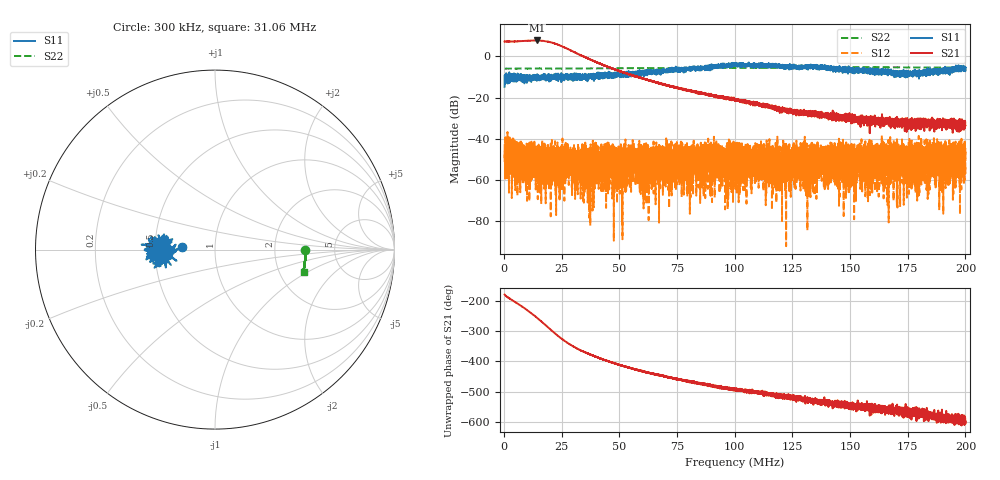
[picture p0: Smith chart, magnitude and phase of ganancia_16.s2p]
# Hz S DB R 50
! CMT, M5065, 19127446, 24.2.4/2
! Date: 10/29/2024 12:10:18 PM
! Data: Format (Calibration Info)
! Freq	S11:dB/Ang(F2)	S21:dB/Ang(F2)	S12:dB/Ang(F2)	S22:dB/Ang(F2)
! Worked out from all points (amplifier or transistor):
!   9000 points, 300 kHz to 200 MHz, reference 50 ohm
!   highest |S21| = 7.7 dB at 14.28 MHz (marker M1)
!   |S21| within 3 dB of that: start of sweep to 25.46 MHz
!   unconditionally stable (mu >= 1): start of sweep to end of sweep
!   at 33.59 MHz: K = 106.52, MAG = 2.2 dB, |S12| = -50.5 dB
!   at 100.2 MHz: K = 2493.70, MAG = -17.2 dB, |S12| = -60.4 dB
!   at 200 MHz: K = 5668.68, MAG = -30.8 dB, |S12| = -53.2 dB
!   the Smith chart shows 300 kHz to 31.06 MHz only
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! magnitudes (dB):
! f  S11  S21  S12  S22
! 300 kHz  -14.8  7.2  -46.0  -6.0
! 1.321 MHz  -10.4  7.2  -48.8  -6.0
! 7.401 MHz  -11.7  7.4  -52.7  -5.9
! 12.68 MHz  -10.4  7.7  -48.4  -5.9
! 14.28 MHz  -11.9  7.7  -45.4  -5.9
! 33.59 MHz  -10.1  0.4  -50.5  -5.9
! 66.87 MHz  -7.9  -12.9  -61.2  -5.7
! 100.2 MHz  -3.9  -20.8  -60.4  -5.6
! 133.4 MHz  -5.4  -28.0  -41.0  -5.4
! 137.6 MHz  -5.1  -28.8  -47.6  -5.3
! 140 MHz  -4.7  -28.4  -52.6  -5.3
! 149.4 MHz  -5.6  -30.0  -66.5  -5.3
! 150.7 MHz  -6.7  -29.0  -50.5  -5.3
! 152.7 MHz  -5.8  -30.1  -48.7  -5.3
! 154.2 MHz  -6.6  -33.1  -41.5  -5.3
! 166.7 MHz  -7.3  -31.0  -51.6  -5.3
! 172.8 MHz  -7.0  -32.5  -42.5  -5.3
! 174.6 MHz  -8.5  -32.3  -50.0  -5.3
! 176.6 MHz  -8.2  -31.6  -53.0  -5.4
! 177.8 MHz  -7.9  -31.2  -50.6  -5.4
! 193.3 MHz  -6.0  -31.8  -50.2  -5.5
! 200 MHz  -5.4  -33.8  -53.2  -5.5
